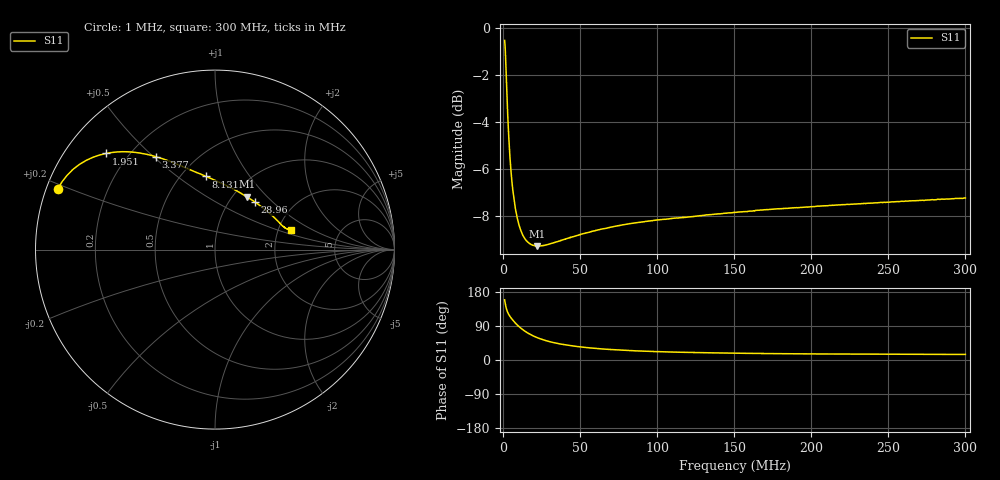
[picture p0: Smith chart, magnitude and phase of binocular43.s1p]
# HZ S RI R 50
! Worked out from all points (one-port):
!   1010 points, 1 MHz to 300 MHz, reference 50 ohm
!   lowest |S11| = -9.3 dB at 22.21 MHz (marker M1), VSWR 2.05, Z = 57.8 + j38.5 ohm
!   |S11| at or under -10 dB: nowhere
!   S11 on the Smith chart (normalised r, x): 1 MHz: 0.03, +0.19; 1.951 MHz: 0.12, +0.37; 3.377 MHz: 0.31, +0.51; 8.131 MHz: 0.66, +0.64; 28.96 MHz: 1.31, +0.79; 300 MHz: 2.33, +0.63
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1000000  -0.8763 0.3389
1237600  -0.8234 0.4145
1475300  -0.7549 0.4749
1713000  -0.6801 0.5143
1950700  -0.6086 0.5355
2307200  -0.5157 0.5454
2663800  -0.4404 0.541
3020300  -0.3798 0.5307
3376800  -0.3306 0.518
3733400  -0.2899 0.5056
4208700  -0.2451 0.4892
5159500  -0.1779 0.4616
6585600  -0.1093 0.4318
8130600  -0.0493 0.4074
1.01509e7  0.00748 0.3828
1.288448e7  0.0642 0.3563
1.721988e7  0.1279 0.3236
2.221208e7  0.1776 0.294
2.895947e7  0.2235 0.2644
3.850577e7  0.2661 0.2334
5.735924e7  0.3143 0.1932
7.581174e7  0.341 0.1678
1.13227e8  0.3688 0.1391
1.508145e8  0.3854 0.1251
1.882903e8  0.3971 0.1175
2.256698e8  0.4063 0.113
2.628348e8  0.4135 0.1108
2.999999e8  0.4207 0.1097
